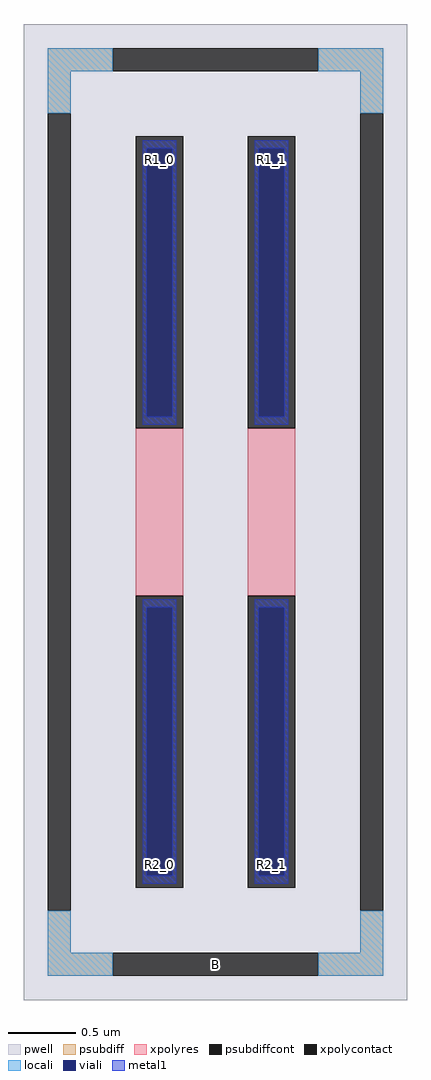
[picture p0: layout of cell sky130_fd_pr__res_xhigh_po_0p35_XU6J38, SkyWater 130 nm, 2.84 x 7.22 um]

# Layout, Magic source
magic
tech sky130A
magscale 1 2
<< pwell >>
rect -284 -722 284 722
<< psubdiff >>
rect -248 652 -152 686
rect 152 652 248 686
rect -248 590 -214 652
rect 214 590 248 652
rect -248 -652 -214 -590
rect 214 -652 248 -590
rect -248 -686 -152 -652
rect 152 -686 248 -652
<< psubdiffcont >>
rect -152 652 152 686
rect -248 -590 -214 590
rect 214 -590 248 590
rect -152 -686 152 -652
<< xpolycontact >>
rect -118 124 -48 556
rect -118 -556 -48 -124
rect 48 124 118 556
rect 48 -556 118 -124
<< xpolyres >>
rect -118 -124 -48 124
rect 48 -124 118 124
<< locali >>
rect -248 652 -152 686
rect 152 652 248 686
rect -248 590 -214 652
rect 214 590 248 652
rect -248 -652 -214 -590
rect 214 -652 248 -590
rect -248 -686 -152 -652
rect 152 -686 248 -652
<< viali >>
rect -102 141 -64 538
rect 64 141 102 538
rect -102 -538 -64 -141
rect 64 -538 102 -141
<< metal1 >>
rect -108 538 -58 550
rect -108 141 -102 538
rect -64 141 -58 538
rect -108 129 -58 141
rect 58 538 108 550
rect 58 141 64 538
rect 102 141 108 538
rect 58 129 108 141
rect -108 -141 -58 -129
rect -108 -538 -102 -141
rect -64 -538 -58 -141
rect -108 -550 -58 -538
rect 58 -141 108 -129
rect 58 -538 64 -141
rect 102 -538 108 -141
rect 58 -550 108 -538
<< labels >>
rlabel psubdiffcont 0 -669 0 -669 0 B
port 1 nsew
rlabel xpolycontact -83 521 -83 521 0 R1_0
port 2 nsew
rlabel xpolycontact -83 -521 -83 -521 0 R2_0
port 3 nsew
rlabel xpolycontact 83 521 83 521 0 R1_1
port 4 nsew
rlabel xpolycontact 83 -521 83 -521 0 R2_1
port 5 nsew
<< properties >>
string FIXED_BBOX -231 -669 231 669
string gencell sky130_fd_pr__res_xhigh_po_0p35
string library sky130
string parameters w 0.350 l 1.4 m 1 nx 2 wmin 0.350 lmin 0.50 class resistor rho 2000 val 9.075k dummy 0 dw 0.0 term 188.2 sterm 0.0 caplen 0 wmax 0.350 guard 1 glc 1 grc 1 gtc 1 gbc 1 compatible {sky130_fd_pr__res_xhigh_po_0p35  sky130_fd_pr__res_xhigh_po_0p69 sky130_fd_pr__res_xhigh_po_1p41  sky130_fd_pr__res_xhigh_po_2p85 sky130_fd_pr__res_xhigh_po_5p73} snake 0 full_metal 1 n_guard 0 hv_guard 0 vias 1 viagb 0 viagt 0 viagl 0 viagr 0 doports 1
<< end >>
